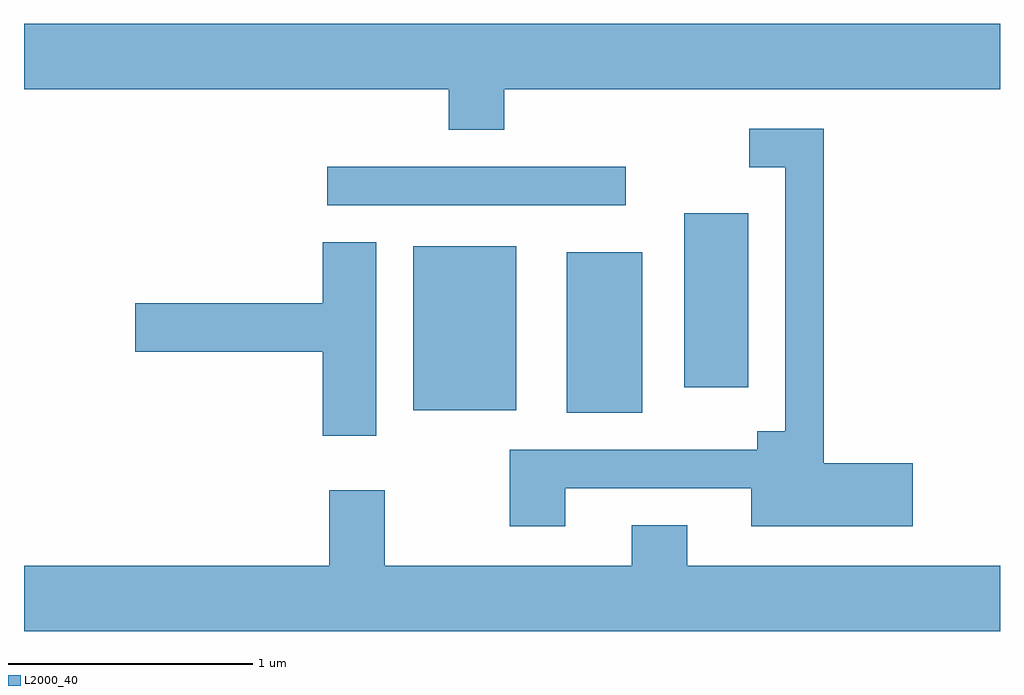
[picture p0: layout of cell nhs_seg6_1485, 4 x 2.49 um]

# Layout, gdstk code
import gdstk
lib = gdstk.Library(unit=1e-6, precision=1e-09)
def R(c, l, rs):  # rectangles x0, y0, x1, y1
    for r in rs: c.add(gdstk.rectangle(r[:2], r[2:], *l))
def P(c, l, *ps):  # polygons
    for p in ps: c.add(gdstk.Polygon(p, *l))
L2000_40 = (2000, 40)

nhs_seg6_1485 = lib.new_cell('nhs_seg6_1485')
R(nhs_seg6_1485, L2000_40, [(231.836,1582.011,232.144,1582.669), (231.206,1582.021,231.629,1582.694), (232.316,1582.116,232.579,1582.829), (230.853,1582.861,232.078,1583.019)])
P(nhs_seg6_1485, L2000_40, [(231.579,1583.336),(233.611,1583.336),(233.611,1583.604),(229.611,1583.604),(229.611,1583.336),(231.351,1583.336),(231.351,1583.171),(231.579,1583.171)],
  [(231.829,1581.701),(232.591,1581.701),(232.591,1581.546),(233.254,1581.546),(233.254,1581.804),(232.889,1581.804),(232.889,1583.174),(232.583,1583.174),(232.583,1583.016),(232.731,1583.016),(232.731,1581.934),(232.616,1581.934),(232.616,1581.859),(231.601,1581.859),(231.601,1581.546),(231.829,1581.546)],
  [(231.054,1582.709),(230.836,1582.709),(230.836,1582.459),(230.066,1582.459),(230.066,1582.261),(230.836,1582.261),(230.836,1581.916),(231.054,1581.916)],
  [(233.611,1581.384),(232.329,1581.384),(232.329,1581.549),(232.101,1581.549),(232.101,1581.384),(231.089,1581.384),(231.089,1581.694),(230.861,1581.694),(230.861,1581.384),(229.611,1581.384),(229.611,1581.116),(233.611,1581.116)])

lib.write_gds('nhs_seg6_1485.gds')
